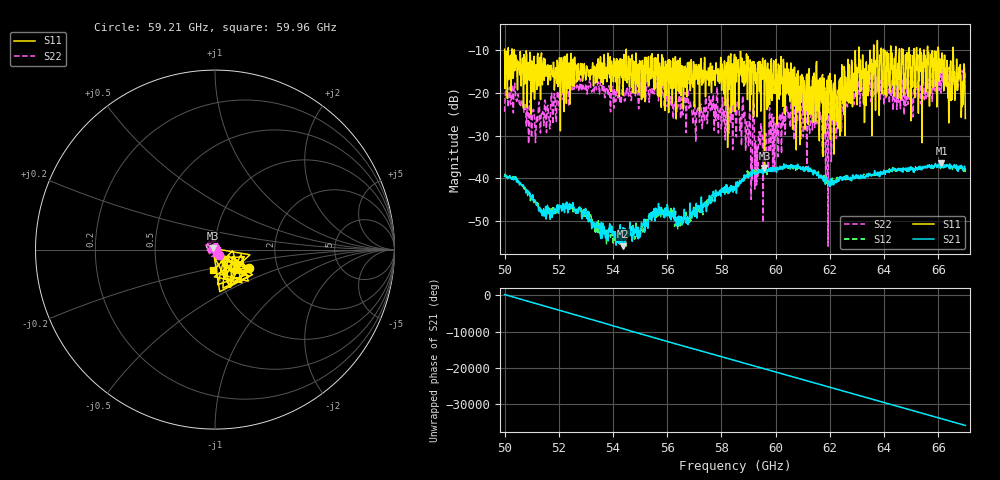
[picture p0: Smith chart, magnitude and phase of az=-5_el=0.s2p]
!Created with skrf (http://scikit-rf.org).
# GHz S RI R 50.0
!freq ReS11 ImS11 ReS21 ImS21 ReS12 ImS12 ReS22 ImS22
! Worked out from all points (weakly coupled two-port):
!   1001 points, 50 GHz to 67 GHz, reference 50 ohm
!   highest |S21| = -36.43 dB at 66.12 GHz (marker M1); lowest = -55.9 dB at 54.35 GHz (marker M2)
!   lowest |S11| = -37.6 dB at 59.59 GHz (marker M3), VSWR 1.03, Z = 48.9 + j0.646 ohm
!   |S11| at or under -10 dB: 50.36 GHz to 54.49 GHz (4.13 GHz wide, 7.88 % of centre); 54.49 GHz to 63.07 GHz (8.581 GHz wide, 14.6 % of centre); 66.01 GHz to 66.54 GHz (532.8 MHz wide, 0.804 % of centre) (the widest 3 of 24)
!   |S22| runs from -55.9 to -14.0 dB; largest |S21 - S12| = 0.002
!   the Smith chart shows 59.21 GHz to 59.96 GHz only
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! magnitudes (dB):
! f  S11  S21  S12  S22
! 50 GHz  -9.7  -39.6  -39.6  -24.4
! 50.42 GHz  -13.4  -40.3  -40.6  -21.6
! 51.07 GHz  -11.7  -45.0  -45.7  -23.9
! 52.84 GHz  -14.1  -47.6  -49.2  -19.6
! 54.35 GHz  -12.2  -55.9  -55.7  -18.1
! 55.68 GHz  -13.4  -45.9  -47.7  -21.9
! 56.73 GHz  -20.9  -50.6  -49.6  -20.3
! 58.5 GHz  -24.4  -42.5  -42.5  -24.2
! 59.59 GHz  -37.6  -38.6  -38.4  -30.2
! 59.84 GHz  -12.0  -38.1  -37.9  -26.1
! 60.03 GHz  -14.6  -38.6  -37.9  -30.4
! 60.64 GHz  -14.5  -37.1  -37.0  -22.5
! 61.34 GHz  -24.9  -38.5  -38.1  -26.0
! 62 GHz  -15.4  -41.9  -41.4  -25.0
! 62.04 GHz  -17.5  -41.1  -41.2  -30.6
! 62.6 GHz  -19.7  -39.6  -39.1  -19.1
! 64.18 GHz  -17.8  -38.4  -38.0  -18.8
! 65.42 GHz  -12.9  -37.3  -37.5  -21.3
! 66.12 GHz  -15.4  -36.4  -37.5  -18.6
! 66.42 GHz  -15.4  -36.6  -37.4  -16.4
! 66.75 GHz  -16.7  -37.2  -37.6  -18.2
! 67 GHz  -26.0  -37.9  -37.3  -15.6
